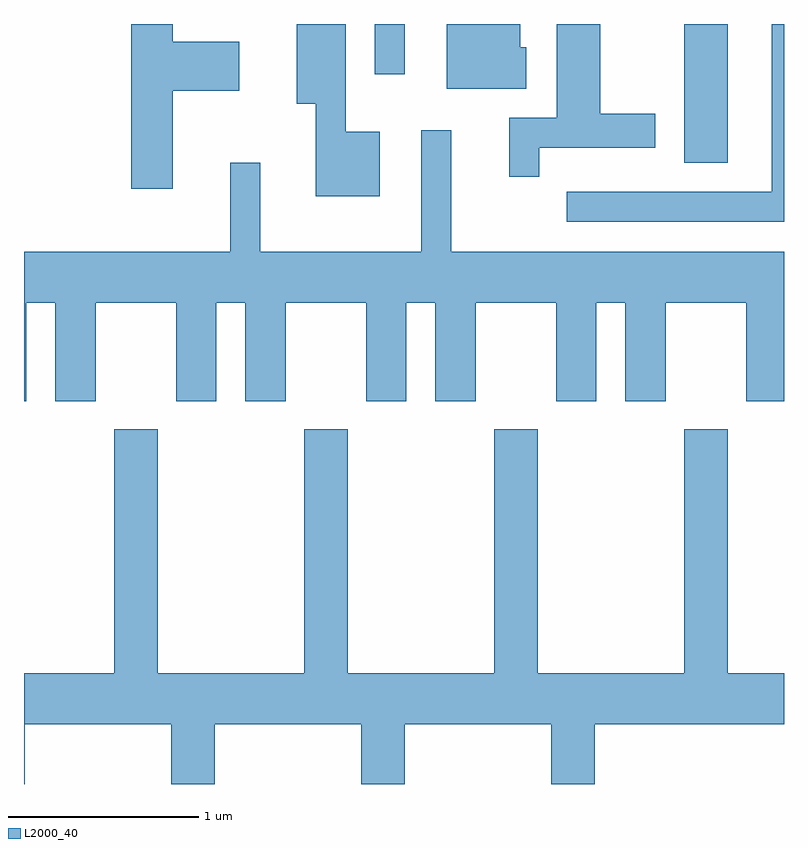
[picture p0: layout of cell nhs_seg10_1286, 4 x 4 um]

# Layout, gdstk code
import gdstk
lib = gdstk.Library(unit=1e-6, precision=1e-09)
def R(c, l, rs):  # rectangles x0, y0, x1, y1
    for r in rs: c.add(gdstk.rectangle(r[:2], r[2:], *l))
def P(c, l, *ps):  # polygons
    for p in ps: c.add(gdstk.Polygon(p, *l))
L2000_40 = (2000, 40)

nhs_seg10_1286 = lib.new_cell('nhs_seg10_1286')
R(nhs_seg10_1286, L2000_40, [(227.086,2085.791,227.314,2086.522), (225.456,2086.258,225.614,2086.522)])
P(nhs_seg10_1286, L2000_40, [(224.394,2086.171),(224.744,2086.171),(224.744,2086.429),(224.394,2086.429),(224.394,2086.522),(224.176,2086.522),(224.176,2085.656),(224.394,2085.656)],
  [(227.611,2086.522),(227.546,2086.522),(227.546,2085.639),(226.468,2085.639),(226.468,2085.481),(227.611,2085.481)],
  [(226.254,2086.399),(226.224,2086.399),(226.224,2086.522),(225.836,2086.522),(225.836,2086.181),(226.254,2086.181)],
  [(225.484,2085.954),(225.304,2085.954),(225.304,2086.522),(225.046,2086.522),(225.046,2086.101),(225.146,2086.101),(225.146,2085.616),(225.484,2085.616)],
  [(226.324,2085.871),(226.934,2085.871),(226.934,2086.049),(226.644,2086.049),(226.644,2086.522),(226.416,2086.522),(226.416,2086.029),(226.166,2086.029),(226.166,2085.718),(226.324,2085.718)],
  [(223.624,2085.056),(223.776,2085.056),(223.776,2084.536),(223.989,2084.536),(223.989,2085.056),(224.411,2085.056),(224.411,2084.536),(224.624,2084.536),(224.624,2085.056),(224.776,2085.056),(224.776,2084.536),(224.989,2084.536),(224.989,2085.056),(225.411,2085.056),(225.411,2084.536),(225.624,2084.536),(225.624,2085.056),(225.776,2085.056),(225.776,2084.536),(225.989,2084.536),(225.989,2085.056),(226.411,2085.056),(226.411,2084.536),(226.624,2084.536),(226.624,2085.056),(226.776,2085.056),(226.776,2084.536),(226.989,2084.536),(226.989,2085.056),(227.411,2085.056),(227.411,2084.536),(227.611,2084.536),(227.611,2085.324),(225.859,2085.324),(225.859,2085.963),(225.701,2085.963),(225.701,2085.324),(224.854,2085.324),(224.854,2085.793),(224.696,2085.793),(224.696,2085.324),(223.611,2085.324),(223.611,2084.536),(223.624,2084.536)],
  [(223.614,2082.836),(224.386,2082.836),(224.386,2082.522),(224.614,2082.522),(224.614,2082.836),(225.386,2082.836),(225.386,2082.522),(225.614,2082.522),(225.614,2082.836),(226.386,2082.836),(226.386,2082.522),(226.614,2082.522),(226.614,2082.836),(227.611,2082.836),(227.611,2083.104),(227.314,2083.104),(227.314,2084.389),(227.086,2084.389),(227.086,2083.104),(226.314,2083.104),(226.314,2084.389),(226.086,2084.389),(226.086,2083.104),(225.314,2083.104),(225.314,2084.389),(225.086,2084.389),(225.086,2083.104),(224.314,2083.104),(224.314,2084.389),(224.086,2084.389),(224.086,2083.104),(223.611,2083.104),(223.611,2082.522),(223.614,2082.522)])

lib.write_gds('nhs_seg10_1286.gds')
